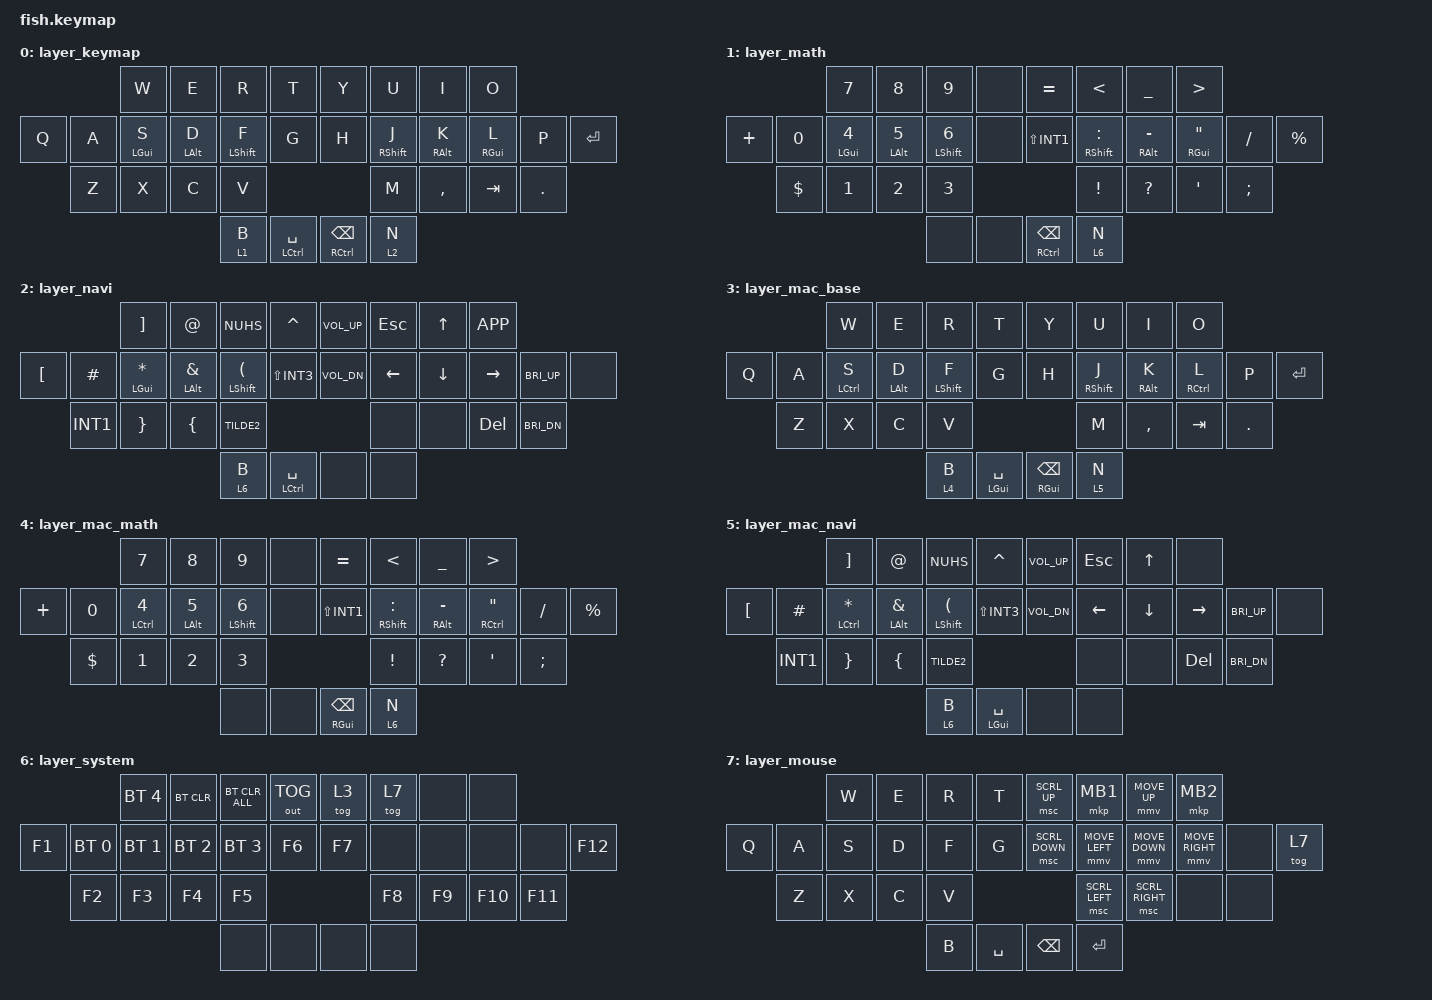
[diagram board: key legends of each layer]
// キーマップを更新する方法は https://o24.works/fish/guide を参照
// 視覚的に編集するには https://o24.works/fish/editor を参照

#define ZMK_POINTING_DEFAULT_MOVE_VAL 1200  
#define ZMK_POINTING_DEFAULT_SCRL_VAL 15    
// default: 600,10

// 定義を呼んでくる
#include <behaviors.dtsi>
#include <dt-bindings/zmk/keys.h>
#include <dt-bindings/zmk/mouse.h>
#include <dt-bindings/zmk/bt.h>
#include <dt-bindings/zmk/outputs.h>
#include <dt-bindings/zmk/pointing.h>


// 特殊入力の挙動を調整できる

&mt {
    flavor = "tap-preferred";
    tapping-term-ms = <225>;
    quick-tap-ms = <200>;
    require-prior-idle-ms = <150>;
};

&lt {
    flavor = "balanced";
    tapping-term-ms = <175>;
    quick-tap-ms = <200>;
};

&sk {
};

&sl {
};

&caps_word {
};

&key_repeat {
};

&mmv {
    x-input-code = <INPUT_REL_X>;
    y-input-code = <INPUT_REL_Y>;
    time-to-max-speed-ms = <300>;
    acceleration-exponent = <1>;
    // default: 300,1
};

&msc {
    x-input-code = <INPUT_REL_HWHEEL>;
    y-input-code = <INPUT_REL_WHEEL>;
    time-to-max-speed-ms = <300>;
    acceleration-exponent = <1>;
    // default: 300,1
};

/ {
    // 独自の入力を定義できる（上級者向け）

    behaviors {
    };

    macros {
    };

    conditional_layers {
    };


    // 複数キーの同時押しに特別の入力を設定できる
    // キー番号早見表：
    //       0  1  2  3     4  5  6  7
    // 8  9 10 11 12 13    14 15 16 17 18 19
    //   20 21 22 23          24 25 26 27
    //            28 29    30 31

    combos {
        compatible = "zmk,combos";
        timeout-ms = <100>;
        require-prior-idle-ms = <150>;

        combo_lang2 {
            key-positions = <21 22>;
            bindings = <&kp LANG2>;
        };

        combo_lang1 {
            key-positions = <25 26>;
            bindings = <&kp LANG1>;
        };
    };
    

    // キーに入力を割り当てる
    // 型（&...）は https://zmk.dev/docs/behaviors/... を参照
    // キーコードは https://zmk.dev/docs/codes/... を参照

    keymap {
        compatible = "zmk,keymap";

        layer_keymap {
            bindings = <
                        &kp W       &kp E       &kp R       &kp T               &kp Y       &kp U       &kp I       &kp O       
&kp Q       &kp A       &mt LGUI S  &mt LALT D  &mt LSHFT F &kp G               &kp H       &mt RSHFT J &mt RALT K  &mt RGUI L  &kp P       &kp RET     
            &kp Z       &kp X       &kp C       &kp V                                       &kp M       &kp COMMA   &kp TAB     &kp DOT     
                                                &lt 1 B     &mt LCTRL SPACE     &mt RCTRL BSPC &lt 2 N  
            >;
        };

        layer_math {
            bindings = <
                        &kp N7      &kp N8      &kp N9      &none               &kp EQUAL   &kp LT      &kp UNDER   &kp GT      
&kp PLUS    &kp N0      &mt LGUI N4 &mt LALT N5 &mt LSHFT N6 &none              &kp LS(INT1) &mt RSHFT COLON &mt RALT MINUS &mt RGUI DQT &kp FSLH &kp PRCNT 
            &kp DLLR    &kp N1      &kp N2      &kp N3                                      &kp EXCL    &kp QMARK   &kp SQT     &kp SEMI    
                                                &none       &none               &mt RCTRL BSPC &lt 6 N  
            >;
        };

        layer_navi {
            bindings = <
                        &kp RBKT    &kp AT      &kp NUHS    &kp CARET           &kp C_VOL_UP &kp ESC    &kp UP      &kp K_APP   
&kp LBKT    &kp HASH    &mt LGUI STAR &mt LALT AMPS &mt LSHFT LPAR &kp LS(INT3) &kp C_VOL_DN &kp LEFT   &kp DOWN    &kp RIGHT   &kp C_BRI_UP &none      
            &kp INT1    &kp RBRC    &kp LBRC    &kp TILDE2                                  &none       &none       &kp DEL     &kp C_BRI_DN 
                                                &lt 6 B     &mt LCTRL SPACE     &none       &none       
            >;
        };

        layer_mac_base {
            bindings = <
                        &kp W       &kp E       &kp R       &kp T               &kp Y       &kp U       &kp I       &kp O       
&kp Q       &kp A       &mt LCTRL S &mt LALT D  &mt LSHFT F &kp G               &kp H       &mt RSHFT J &mt RALT K  &mt RCTRL L &kp P       &kp RET     
            &kp Z       &kp X       &kp C       &kp V                                       &kp M       &kp COMMA   &kp TAB     &kp DOT     
                                                &lt 4 B     &mt LGUI SPACE      &mt RGUI BSPC &lt 5 N   
            >;
        };

        layer_mac_math {
            bindings = <
                        &kp N7      &kp N8      &kp N9      &none               &kp EQUAL   &kp LT      &kp UNDER   &kp GT      
&kp PLUS    &kp N0      &mt LCTRL N4 &mt LALT N5 &mt LSHFT N6 &none             &kp LS(INT1) &mt RSHFT COLON &mt RALT MINUS &mt RCTRL DQT &kp FSLH &kp PRCNT 
            &kp DLLR    &kp N1      &kp N2      &kp N3                                      &kp EXCL    &kp QMARK   &kp SQT     &kp SEMI    
                                                &none       &none               &mt RGUI BSPC &lt 6 N   
            >;
        };

        layer_mac_navi {
            bindings = <
                        &kp RBKT    &kp AT      &kp NUHS    &kp CARET           &kp C_VOL_UP &kp ESC    &kp UP      &none       
&kp LBKT    &kp HASH    &mt LCTRL STAR &mt LALT AMPS &mt LSHFT LPAR &kp LS(INT3) &kp C_VOL_DN &kp LEFT  &kp DOWN    &kp RIGHT   &kp C_BRI_UP &none      
            &kp INT1    &kp RBRC    &kp LBRC    &kp TILDE2                                  &none       &none       &kp DEL     &kp C_BRI_DN 
                                                &lt 6 B     &mt LGUI SPACE      &none       &none       
            >;
        };

        layer_system {
            bindings = <
                        &bt BT_SEL 4 &bt BT_CLR &bt BT_CLR_ALL &out OUT_TOG     &tog 3      &tog 7      &none       &none       
&kp F1      &bt BT_SEL 0 &bt BT_SEL 1 &bt BT_SEL 2 &bt BT_SEL 3 &kp F6          &kp F7      &none       &none       &none       &none       &kp F12     
            &kp F2      &kp F3      &kp F4      &kp F5                                      &kp F8      &kp F9      &kp F10     &kp F11     
                                                &none       &none               &none       &none       
            >;
        };

        layer_mouse {
            bindings = <
                        &kp W       &kp E       &kp R       &kp T               &msc SCRL_UP &mkp MB1   &mmv MOVE_UP &mkp MB2   
&kp Q       &kp A       &kp S       &kp D       &kp F       &kp G               &msc SCRL_DOWN &mmv MOVE_LEFT &mmv MOVE_DOWN &mmv MOVE_RIGHT &none &tog 7 
            &kp Z       &kp X       &kp C       &kp V                                       &msc SCRL_LEFT &msc SCRL_RIGHT &none &none      
                                                &kp B       &kp SPACE           &kp BSPC    &kp RET     
            >;
        };
    };
};
